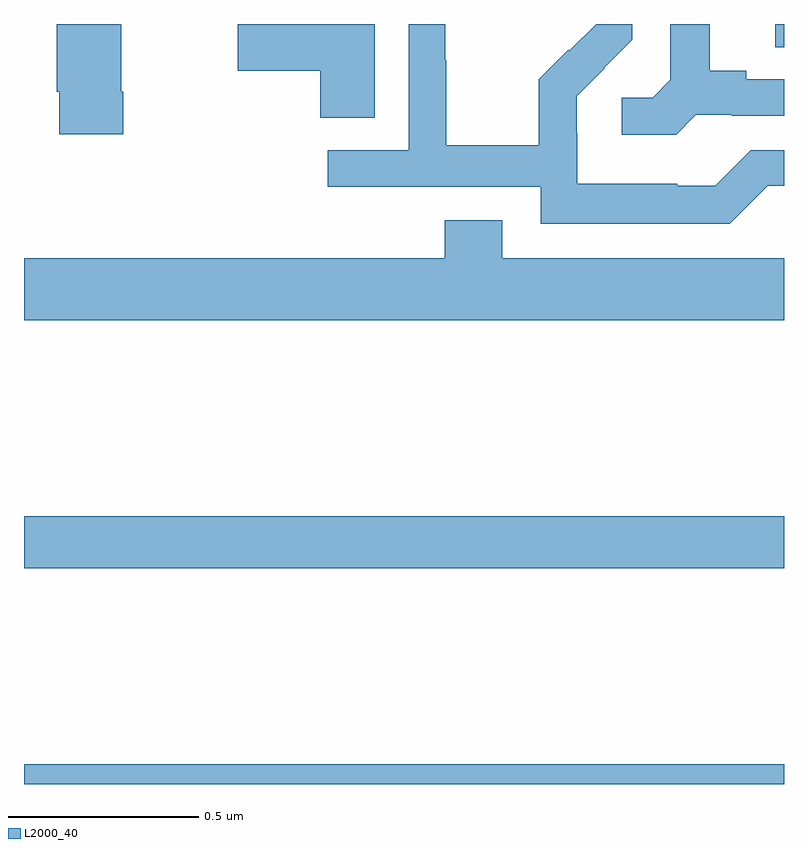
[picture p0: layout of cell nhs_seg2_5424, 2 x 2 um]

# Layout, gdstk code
import gdstk
lib = gdstk.Library(unit=1e-6, precision=1e-09)
def R(c, l, rs):  # rectangles x0, y0, x1, y1
    for r in rs: c.add(gdstk.rectangle(r[:2], r[2:], *l))
def P(c, l, *ps):  # polygons
    for p in ps: c.add(gdstk.Polygon(p, *l))
L2000_40 = (2000, 40)

nhs_seg2_5424 = lib.new_cell('nhs_seg2_5424')
R(nhs_seg2_5424, L2000_40, [(179,595.8,181,595.852), (179,596.368,181,596.504), (180.977,597.739,181,597.8)])
P(nhs_seg2_5424, L2000_40, [(179.923,597.8),(179.562,597.8),(179.562,597.677),(179.78,597.677),(179.78,597.553),(179.923,597.553)],
  [(180.957,597.375),(181,597.375),(181,597.468),(180.912,597.468),(180.819,597.375),(180.719,597.375),(180.719,597.379),(180.456,597.379),(180.456,597.513),(180.454,597.513),(180.454,597.61),(180.528,597.684),(180.527,597.685),(180.6,597.758),(180.6,597.8),(180.506,597.8),(180.435,597.729),(180.432,597.732),(180.355,597.655),(180.355,597.481),(180.111,597.481),(180.111,597.704),(180.108,597.704),(180.108,597.8),(180.012,597.8),(180.012,597.468),(179.799,597.468),(179.799,597.372),(180.36,597.372),(180.36,597.275),(180.857,597.275)],
  [(179.261,597.622),(179.256,597.622),(179.256,597.8),(179.086,597.8),(179.086,597.622),(179.093,597.622),(179.093,597.51),(179.261,597.51)],
  [(180.768,597.561),(180.862,597.561),(180.862,597.558),(181,597.558),(181,597.654),(180.901,597.654),(180.901,597.677),(180.805,597.677),(180.805,597.8),(180.701,597.8),(180.701,597.653),(180.654,597.606),(180.573,597.606),(180.573,597.509),(180.716,597.509)],
  [(181,597.184),(180.259,597.184),(180.259,597.283),(180.107,597.283),(180.107,597.184),(179,597.184),(179,597.02),(181,597.02)])

lib.write_gds('nhs_seg2_5424.gds')
